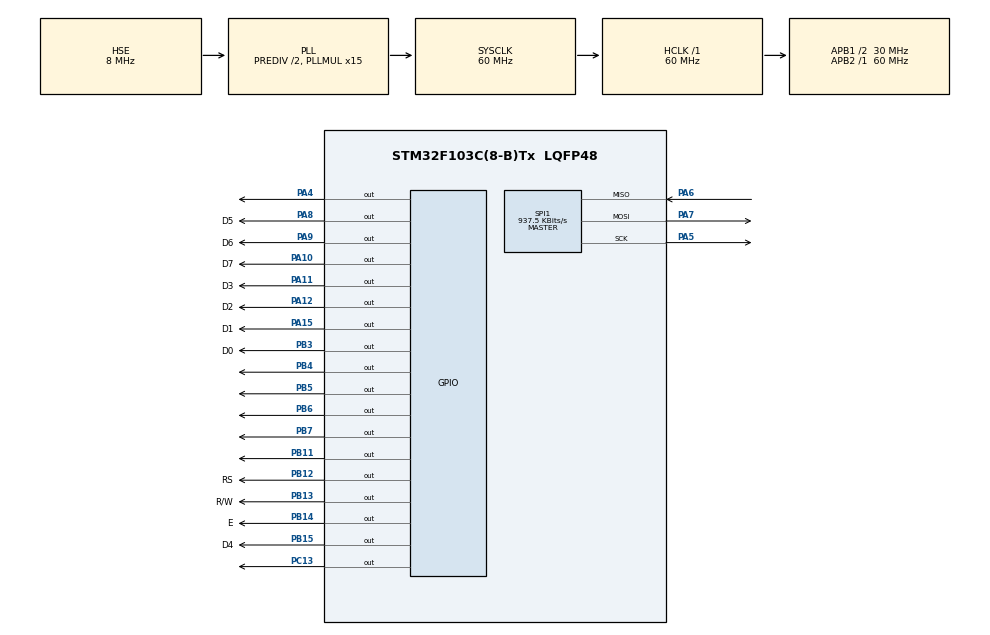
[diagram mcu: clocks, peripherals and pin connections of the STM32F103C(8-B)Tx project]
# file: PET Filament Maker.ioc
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Mcu.Family=STM32F1
Mcu.Name=STM32F103C(8-B)Tx
Mcu.Package=LQFP48
NVIC.PriorityGroup=NVIC_PRIORITYGROUP_4
NVIC.RCC_IRQn=true\:0\:0\:false\:false\:true\:true\:false\:true
PA10.GPIO_Label=D7
PA10.Signal=GPIO_Output
PA11.GPIO_Label=D3
PA11.Signal=GPIO_Output
PA12.GPIO_Label=D2
PA12.Signal=GPIO_Output
PA13.Mode=Serial_Wire
PA13.Signal=SYS_JTMS-SWDIO
PA14.Mode=Serial_Wire
PA14.Signal=SYS_JTCK-SWCLK
PA15.GPIO_Label=D1
PA15.Signal=GPIO_Output
PA4.Signal=GPIO_Output
PA5.Mode=Full_Duplex_Master
PA5.Signal=SPI1_SCK
PA6.Mode=Full_Duplex_Master
PA6.Signal=SPI1_MISO
PA7.Mode=Full_Duplex_Master
PA7.Signal=SPI1_MOSI
PA8.GPIO_Label=D5
PA8.Signal=GPIO_Output
PA9.GPIO_Label=D6
PA9.Signal=GPIO_Output
PB11.Signal=GPIO_Output
PB12.GPIO_Label=RS
PB12.Signal=GPIO_Output
PB13.GPIO_Label=R/W
PB13.Signal=GPIO_Output
PB14.GPIO_Label=E
PB14.Signal=GPIO_Output
PB15.GPIO_Label=D4
PB15.Signal=GPIO_Output
PB3.GPIO_Label=D0
PB3.Signal=GPIO_Output
PB4.Signal=GPIO_Output
PB5.Signal=GPIO_Output
PB6.Signal=GPIO_Output
PB7.Signal=GPIO_Output
PC13-TAMPER-RTC.Signal=GPIO_Output
PD0-OSC_IN.Mode=HSE-External-Oscillator
PD0-OSC_IN.Signal=RCC_OSC_IN
PD1-OSC_OUT.Mode=HSE-External-Oscillator
PD1-OSC_OUT.Signal=RCC_OSC_OUT
ProjectManager.HeapSize=0x200
ProjectManager.StackSize=0x400
ProjectManager.TargetToolchain=STM32CubeIDE
RCC.ADCPresc=RCC_ADCPCLK2_DIV6
RCC.AHBFreq_Value=60000000
RCC.APB1CLKDivider=RCC_HCLK_DIV2
RCC.APB1Freq_Value=30000000
RCC.APB1TimFreq_Value=60000000
RCC.APB2Freq_Value=60000000
RCC.APB2TimFreq_Value=60000000
RCC.HCLKFreq_Value=60000000
RCC.HSEDivPLL=RCC_HSE_PREDIV_DIV2
RCC.PLLMUL=RCC_PLL_MUL15
RCC.PLLSourceVirtual=RCC_PLLSOURCE_HSE
RCC.SYSCLKFreq_VALUE=60000000
RCC.SYSCLKSource=RCC_SYSCLKSOURCE_PLLCLK
RCC.USBFreq_Value=60000000
SPI1.BaudRatePrescaler=SPI_BAUDRATEPRESCALER_64
SPI1.CLKPhase=SPI_PHASE_2EDGE
SPI1.CLKPolarity=SPI_POLARITY_HIGH
SPI1.CalculateBaudRate=937.5 KBits/s
SPI1.DataSize=SPI_DATASIZE_16BIT
SPI1.Direction=SPI_DIRECTION_2LINES
SPI1.FirstBit=SPI_FIRSTBIT_MSB
SPI1.Mode=SPI_MODE_MASTER
SPI1.VirtualType=VM_MASTER
board=custom

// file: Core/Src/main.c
/* USER CODE BEGIN Header */
/**
  ******************************************************************************
  * @file           : main.c
  * @brief          : Main program body
  ******************************************************************************
  * @attention
  *
  * Copyright (c) 2022 STMicroelectronics.
  * All rights reserved.
  *
  * This software is licensed under terms that can be found in the LICENSE file
  * in the root directory of this software component.
  * If no LICENSE file comes with this software, it is provided AS-IS.
  *
  ******************************************************************************
  */
/* USER CODE END Header */
#include "main.h"

/* USER CODE BEGIN Includes */

#include "2004_lcd.h"
#include <string.h>
#include <stdio.h>
#include <stdlib.h>

/* USER CODE END Includes */

 SPI_HandleTypeDef hspi1;

void SystemClock_Config(void);
static void MX_GPIO_Init(void);
static void MX_SPI1_Init(void);

int main(void)
{
  /* USER CODE BEGIN 1 */
	uint8_t buf[20];
	GPIO_PinState toggle;
	uint16_t set = 850;
	uint16_t top = 870;
	uint16_t bot = 800;
	int rise = 1;
	char data[20];
	char prnt[20];
	uint16_t val;
  /* USER CODE END 1 */

  /* MCU Configuration--------------------------------------------------------*/

  /* Reset of all peripherals, Initializes the Flash interface and the Systick. */
  HAL_Init();

  /* Configure the system clock */
  SystemClock_Config();

  /* Initialize all configured peripherals */
  MX_GPIO_Init();
  MX_SPI1_Init();
  /* USER CODE BEGIN 2 */

  lcd_init();
  HAL_SPI_Init(&hspi1);

  HAL_GPIO_WritePin(GPIOA, GPIO_PIN_4, GPIO_PIN_SET);
  HAL_GPIO_WritePin(GPIOB, GPIO_PIN_7, GPIO_PIN_RESET);
  HAL_GPIO_WritePin(GPIOB, GPIO_PIN_6, GPIO_PIN_RESET);
  HAL_Delay(50);
  /* USER CODE END 2 */

  /* Infinite loop */
  /* USER CODE BEGIN WHILE */
  while (1)
  {
	  //Receive Data From Sensor
	  HAL_GPIO_WritePin(GPIOA, GPIO_PIN_4, GPIO_PIN_RESET);
	  HAL_SPI_Receive(&hspi1, buf, 2, 100);
	  HAL_GPIO_WritePin(GPIOA, GPIO_PIN_4, GPIO_PIN_SET);
	  //HAL_Delay(10);

	  //Convert Data to Sensor Reading
	  sprintf(data, "%02x%02x", buf[1], buf[0]);
	  val = (uint16_t)strtol(data, NULL, 16);
	  val = val<<1;
	  val = val>>4;

	  //Compare Reading and Toggle Power
	  if (rise) {
		  toggle = (val < bot) ? 0 : 1;
		  rise = (val < top) ? 1 : 0;
	  }
	  else {
		  toggle = (val < set) ? 0 : 1;
		  rise = (val > bot) ? 0 : 1;
	  }
	  HAL_GPIO_WritePin(GPIOB, GPIO_PIN_7, toggle);

	  //Display Set and Current Values
	  lcd_clear();
	  sprintf(prnt, "Current:  %d", val);
	  lcd_send_string(prnt);
	  lcd_send_cmd(0xC0);
	  sprintf(prnt, "Set:    %d", set);
	  lcd_send_string(prnt);

	  //Step Motor
	  for (int i=0; i<50; i++)
	  {
		  HAL_GPIO_WritePin(GPIOB, GPIO_PIN_5, GPIO_PIN_SET);
		  HAL_Delay(1);
		  HAL_GPIO_WritePin(GPIOB, GPIO_PIN_6, GPIO_PIN_SET);
		  HAL_Delay(1);
		  HAL_GPIO_WritePin(GPIOB, GPIO_PIN_5, GPIO_PIN_RESET);
		  HAL_Delay(4);
		  HAL_GPIO_WritePin(GPIOB, GPIO_PIN_6, GPIO_PIN_RESET);
		  HAL_Delay(5);
		  HAL_GPIO_WritePin(GPIOB, GPIO_PIN_6, GPIO_PIN_SET);
		  HAL_Delay(1);
		  HAL_GPIO_WritePin(GPIOB, GPIO_PIN_6, GPIO_PIN_RESET);
	  }
	  HAL_Delay(200);

    /* USER CODE END WHILE */

  }
}

void SystemClock_Config(void)
{
  RCC_OscInitTypeDef RCC_OscInitStruct = {0};
  RCC_ClkInitTypeDef RCC_ClkInitStruct = {0};

  /** Initializes the RCC Oscillators according to the specified parameters
  * in the RCC_OscInitTypeDef structure.
  */
  RCC_OscInitStruct.OscillatorType = RCC_OSCILLATORTYPE_HSE;
  RCC_OscInitStruct.HSEState = RCC_HSE_ON;
  RCC_OscInitStruct.HSEPredivValue = RCC_HSE_PREDIV_DIV2;
  RCC_OscInitStruct.HSIState = RCC_HSI_ON;
  RCC_OscInitStruct.PLL.PLLState = RCC_PLL_ON;
  RCC_OscInitStruct.PLL.PLLSource = RCC_PLLSOURCE_HSE;
  RCC_OscInitStruct.PLL.PLLMUL = RCC_PLL_MUL15;
  if (HAL_RCC_OscConfig(&RCC_OscInitStruct) != HAL_OK)
  {
    Error_Handler();
  }

  /** Initializes the CPU, AHB and APB buses clocks
  */
  RCC_ClkInitStruct.ClockType = RCC_CLOCKTYPE_HCLK|RCC_CLOCKTYPE_SYSCLK
                              |RCC_CLOCKTYPE_PCLK1|RCC_CLOCKTYPE_PCLK2;
  RCC_ClkInitStruct.SYSCLKSource = RCC_SYSCLKSOURCE_PLLCLK;
  RCC_ClkInitStruct.AHBCLKDivider = RCC_SYSCLK_DIV1;
  RCC_ClkInitStruct.APB1CLKDivider = RCC_HCLK_DIV2;
  RCC_ClkInitStruct.APB2CLKDivider = RCC_HCLK_DIV1;

  if (HAL_RCC_ClockConfig(&RCC_ClkInitStruct, FLASH_LATENCY_2) != HAL_OK)
  {
    Error_Handler();
  }
}

static void MX_SPI1_Init(void)
{

  /* SPI1 parameter configuration*/
  hspi1.Instance = SPI1;
  hspi1.Init.Mode = SPI_MODE_MASTER;
  hspi1.Init.Direction = SPI_DIRECTION_2LINES;
  hspi1.Init.DataSize = SPI_DATASIZE_16BIT;
  hspi1.Init.CLKPolarity = SPI_POLARITY_HIGH;
  hspi1.Init.CLKPhase = SPI_PHASE_2EDGE;
  hspi1.Init.NSS = SPI_NSS_SOFT;
  hspi1.Init.BaudRatePrescaler = SPI_BAUDRATEPRESCALER_64;
  hspi1.Init.FirstBit = SPI_FIRSTBIT_MSB;
  hspi1.Init.TIMode = SPI_TIMODE_DISABLE;
  hspi1.Init.CRCCalculation = SPI_CRCCALCULATION_DISABLE;
  hspi1.Init.CRCPolynomial = 10;
  if (HAL_SPI_Init(&hspi1) != HAL_OK)
  {
    Error_Handler();
  }

}

static void MX_GPIO_Init(void)
{
  GPIO_InitTypeDef GPIO_InitStruct = {0};

  /* GPIO Ports Clock Enable */
  __HAL_RCC_GPIOC_CLK_ENABLE();
  __HAL_RCC_GPIOD_CLK_ENABLE();
  __HAL_RCC_GPIOA_CLK_ENABLE();
  __HAL_RCC_GPIOB_CLK_ENABLE();

  /*Configure GPIO pin Output Level */
  HAL_GPIO_WritePin(GPIOC, GPIO_PIN_13, GPIO_PIN_RESET);

  /*Configure GPIO pin Output Level */
  HAL_GPIO_WritePin(GPIOA, GPIO_PIN_4|D5_Pin|D6_Pin|D7_Pin
                          |D3_Pin|D2_Pin|D1_Pin, GPIO_PIN_RESET);

  /*Configure GPIO pin Output Level */
  HAL_GPIO_WritePin(GPIOB, GPIO_PIN_11|RS_Pin|R_W_Pin|E_Pin
                          |D4_Pin|D0_Pin|GPIO_PIN_4|GPIO_PIN_5
                          |GPIO_PIN_6|GPIO_PIN_7, GPIO_PIN_RESET);

  /*Configure GPIO pin : PC13 */
  GPIO_InitStruct.Pin = GPIO_PIN_13;
  GPIO_InitStruct.Mode = GPIO_MODE_OUTPUT_PP;
  GPIO_InitStruct.Pull = GPIO_NOPULL;
  GPIO_InitStruct.Speed = GPIO_SPEED_FREQ_LOW;
  HAL_GPIO_Init(GPIOC, &GPIO_InitStruct);

  /*Configure GPIO pins : PA4 D5_Pin D6_Pin D7_Pin
                           D3_Pin D2_Pin D1_Pin */
  GPIO_InitStruct.Pin = GPIO_PIN_4|D5_Pin|D6_Pin|D7_Pin
                          |D3_Pin|D2_Pin|D1_Pin;
  GPIO_InitStruct.Mode = GPIO_MODE_OUTPUT_PP;
  GPIO_InitStruct.Pull = GPIO_NOPULL;
  GPIO_InitStruct.Speed = GPIO_SPEED_FREQ_LOW;
  HAL_GPIO_Init(GPIOA, &GPIO_InitStruct);

  /*Configure GPIO pins : PB11 RS_Pin R_W_Pin E_Pin
                           D4_Pin D0_Pin PB4 PB5
                           PB6 PB7 */
  GPIO_InitStruct.Pin = GPIO_PIN_11|RS_Pin|R_W_Pin|E_Pin
                          |D4_Pin|D0_Pin|GPIO_PIN_4|GPIO_PIN_5
                          |GPIO_PIN_6|GPIO_PIN_7;
  GPIO_InitStruct.Mode = GPIO_MODE_OUTPUT_PP;
  GPIO_InitStruct.Pull = GPIO_NOPULL;
  GPIO_InitStruct.Speed = GPIO_SPEED_FREQ_LOW;
  HAL_GPIO_Init(GPIOB, &GPIO_InitStruct);

}

void Error_Handler(void)
{
  __disable_irq();
  while (1)
  {
  }
}
